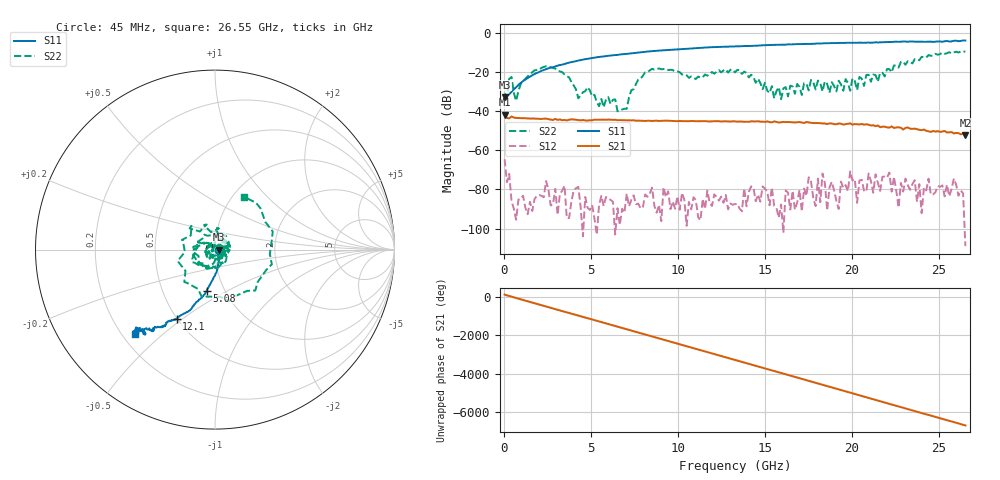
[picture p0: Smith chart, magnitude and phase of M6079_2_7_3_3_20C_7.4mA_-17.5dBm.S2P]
!  2-Port S-parameters saved by WinCal
! VAR MeasName=S-Parameters (CALIBRATED_DATA) read from VNA (C)
! VAR MeasDate=10/5/2015 6:49:10 PM
! VAR NAME=M6079_2_7_3_3_20C_7.4mA_-17.5dBm
! VAR FILENAME=M6079_2_7_3_3_20C_7.4mA_-17.5dBm.S2P
! VAR DATE=10/5/2015 6:49:10 PM
! VAR PHYS_PORTS=2,1
! VAR ObjTypeName=DATASET
! VAR IndexType=Frequency
# Hz S RI R 50
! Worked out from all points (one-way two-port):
!   201 points, 45 MHz to 26.55 GHz, reference 50 ohm
!   highest |S21| = -41.65 dB at 45 MHz (marker M1); lowest = -52.2 dB at 26.55 GHz (marker M2)
!   lowest |S11| = -32.6 dB at 45 MHz (marker M3), VSWR 1.05, Z = 52.4 - j0.11 ohm
!   |S11| at or under -10 dB: start of sweep to 7.605 GHz
!   |S22| runs from -40.0 to -9.2 dB; largest |S21 - S12| = 0.0087
!   S11 on the Smith chart (normalised r, x): 45 MHz: 1.05, -0.00; 5.08 GHz: 0.83, -0.40; 12.1 GHz: 0.50, -0.48; 26.55 GHz: 0.25, -0.41
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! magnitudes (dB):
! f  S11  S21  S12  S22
! 45 MHz  -32.6  -41.6  -64.5  -30.8
! 177.5 MHz  -32.1  -43.4  -76.3  -32.7
! 442.5 MHz  -30.0  -42.6  -85.8  -22.4
! 707.5 MHz  -27.7  -43.4  -95.5  -34.6
! 2.43 GHz  -18.4  -43.7  -75.7  -16.9
! 4.55 GHz  -13.5  -44.4  -104.0  -30.2
! 5.08 GHz  -12.7  -44.6  -88.0  -32.2
! 7.067 GHz  -10.6  -44.6  -82.1  -38.7
! 7.73 GHz  -9.8  -44.7  -87.2  -23.8
! 8.922 GHz  -8.9  -44.9  -87.9  -18.0
! 12.1 GHz  -7.1  -45.0  -82.5  -20.7
! 13.29 GHz  -6.7  -45.1  -87.5  -20.1
! 15.95 GHz  -5.8  -45.6  -87.7  -33.8
! 17.8 GHz  -5.4  -46.0  -84.5  -25.2
! 18.33 GHz  -5.2  -46.2  -71.8  -29.8
! 18.59 GHz  -5.1  -46.5  -90.7  -25.9
! 19.79 GHz  -4.9  -46.4  -80.9  -25.5
! 19.92 GHz  -4.9  -46.1  -70.8  -29.4
! 20.32 GHz  -4.9  -46.6  -86.9  -29.1
! 22.17 GHz  -4.5  -48.3  -71.3  -18.4
! 22.3 GHz  -4.5  -47.7  -81.1  -20.0
! 26.55 GHz  -3.7  -52.2  -109.0  -9.5
